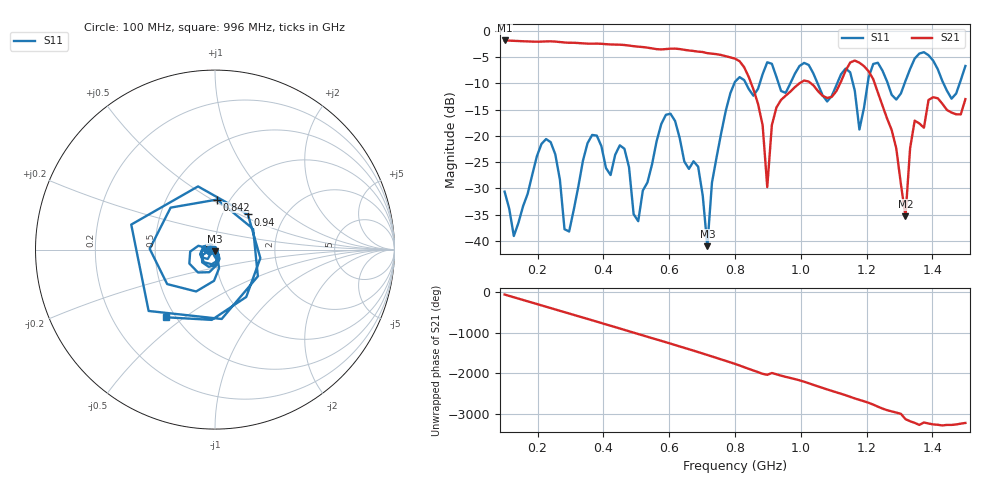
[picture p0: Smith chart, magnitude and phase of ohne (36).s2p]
! NanoVNA-App
! Date: 2025-09-25 14:21:05
! Start: 100MHz Stop: 1,5GHz Points: 101
! S-Parameter data: F S11 S21 S12 S22
# Hz S RI R 50
!  Frequency  S11_Real  S11_Imag  S21_Real  S21_Imag  S12_Real  S12_Imag  S22_Real  S22_Imag
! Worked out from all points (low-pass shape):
!   101 points, 100 MHz to 1.5 GHz, reference 50 ohm
!   highest |S21| = -1.79 dB at 100 MHz (marker M1); lowest = -35.3 dB at 1.318 GHz (marker M2)
!   |S21| within 3 dB of the highest: start of sweep to 771.7 MHz
!   lowest |S11| = -41.0 dB at 716 MHz (marker M3), VSWR 1.02, Z = 49.8 - j0.853 ohm
!   |S11| at or under -10 dB: start of sweep to 797.9 MHz; 833.2 MHz to 875.1 MHz (41.88 MHz wide, 4.9 % of centre); 1.051 GHz to 1.11 GHz (59.31 MHz wide, 5.49 % of centre) (the widest 3 of 7)
!   S12 and S22 are empty: the file has one direction only
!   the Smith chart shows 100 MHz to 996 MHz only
!   S11 on the Smith chart (normalised r, x): 100 MHz: 0.94, -0.01; 842 MHz: 0.88, +0.53; 940 MHz: 1.32, +0.55; 996 MHz: 0.45, -0.43
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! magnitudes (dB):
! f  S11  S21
! 100 MHz  -30.6  -1.8
! 128 MHz  -39.1  -1.9
! 226 MHz  -20.6  -2.0
! 296 MHz  -38.2  -2.2
! 338 MHz  -24.7  -2.3
! 464 MHz  -22.5  -2.7
! 506 MHz  -36.3  -3.0
! 576 MHz  -17.7  -3.5
! 688 MHz  -25.9  -3.9
! 716 MHz  -41.0  -4.2
! 800 MHz  -9.7  -5.3
! 842 MHz  -11.1  -8.8
! 898 MHz  -6.0  -29.8
! 940 MHz  -11.4  -13.1
! 996 MHz  -6.7  -10.0
! 1.038 GHz  -8.1  -10.3
! 1.178 GHz  -18.8  -6.0
! 1.22 GHz  -6.3  -9.2
! 1.276 GHz  -12.2  -18.9
! 1.318 GHz  -9.5  -35.3
! 1.346 GHz  -5.3  -17.1
! 1.5 GHz  -6.7  -13.0
